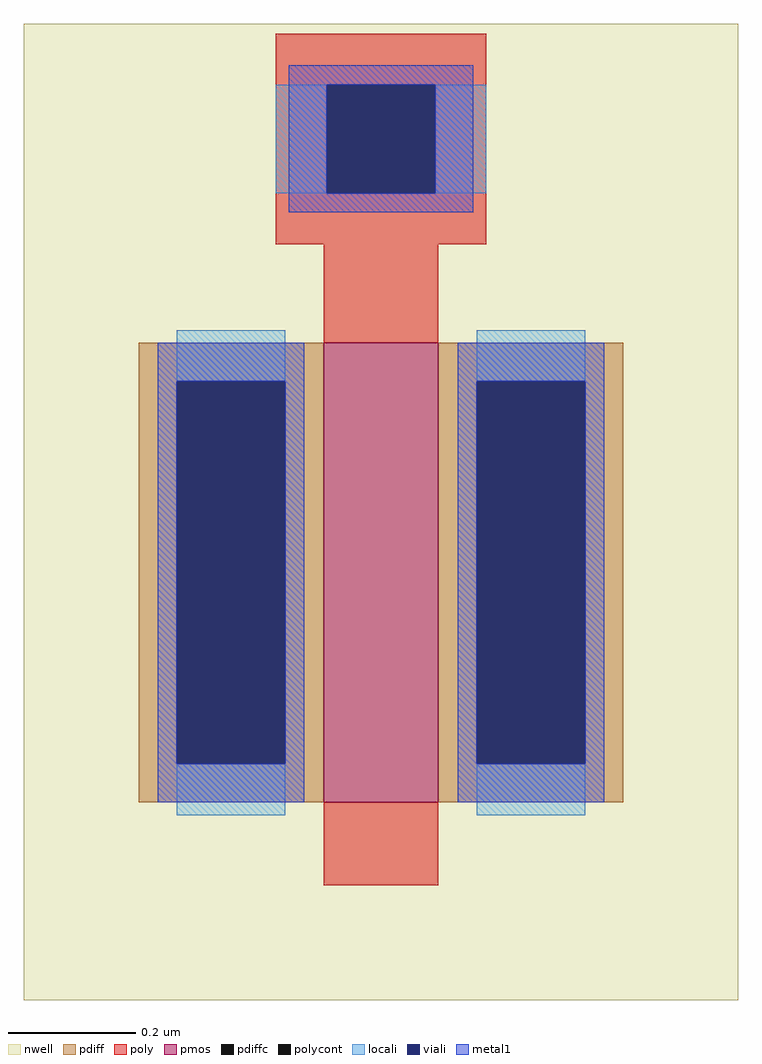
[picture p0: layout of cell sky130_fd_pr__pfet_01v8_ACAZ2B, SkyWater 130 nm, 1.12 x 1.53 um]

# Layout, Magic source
magic
tech sky130A
magscale 1 2
<< nwell >>
rect -112 -170 112 136
<< pmos >>
rect -18 -108 18 36
<< pdiff >>
rect -76 24 -18 36
rect -76 -96 -64 24
rect -30 -96 -18 24
rect -76 -108 -18 -96
rect 18 24 76 36
rect 18 -96 30 24
rect 64 -96 76 24
rect 18 -108 76 -96
<< pdiffc >>
rect -64 -96 -30 24
rect 30 -96 64 24
<< poly >>
rect -33 117 33 133
rect -33 83 -17 117
rect 17 83 33 117
rect -33 67 33 83
rect -18 36 18 67
rect -18 -134 18 -108
<< polycont >>
rect -17 83 17 117
<< locali >>
rect -33 83 -17 117
rect 17 83 33 117
rect -64 24 -30 40
rect -64 -112 -30 -96
rect 30 24 64 40
rect 30 -112 64 -96
<< viali >>
rect -17 83 17 117
rect -64 -96 -30 24
rect 30 -96 64 24
<< metal1 >>
rect -29 117 29 123
rect -29 83 -17 117
rect 17 83 29 117
rect -29 77 29 83
rect -70 24 -24 36
rect -70 -96 -64 24
rect -30 -96 -24 24
rect -70 -108 -24 -96
rect 24 24 70 36
rect 24 -96 30 24
rect 64 -96 70 24
rect 24 -108 70 -96
<< properties >>
string gencell sky130_fd_pr__pfet_01v8
string library sky130
string parameters w 0.72 l 0.18 m 1 nf 1 diffcov 100 polycov 100 guard 0 glc 0 grc 0 gtc 0 gbc 0 tbcov 100 rlcov 100 topc 1 botc 0 poverlap 0 doverlap 1 lmin 0.15 wmin 0.42 compatible {sky130_fd_pr__pfet_01v8  sky130_fd_pr__pfet_01v8_lvt sky130_fd_pr__pfet_01v8_hvt  sky130_fd_pr__pfet_g5v0d10v5} full_metal 0 viasrc 100 viadrn 100 viagate 100 viagb 0 viagr 0 viagl 0 viagt 0
<< end >>
